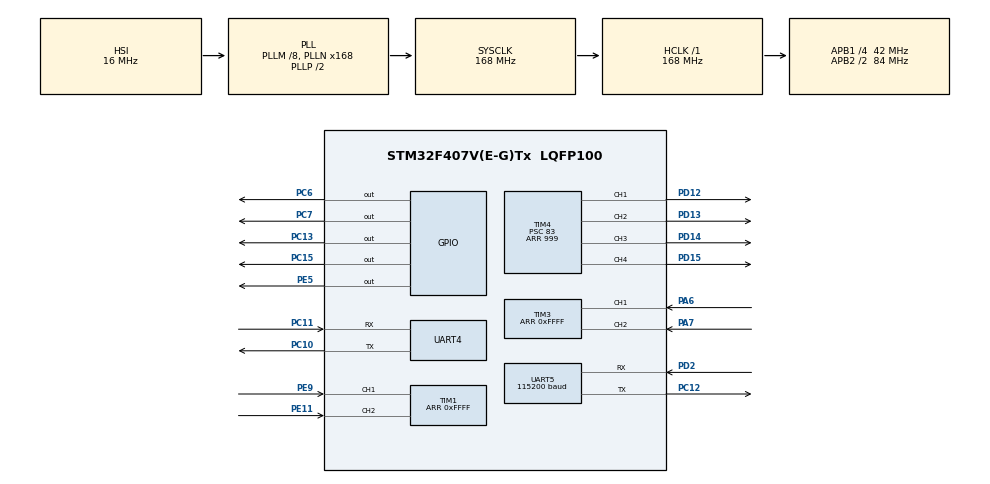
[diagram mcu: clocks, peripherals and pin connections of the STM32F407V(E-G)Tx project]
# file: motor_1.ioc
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Mcu.Family=STM32F4
Mcu.Name=STM32F407V(E-G)Tx
Mcu.Package=LQFP100
NVIC.PriorityGroup=NVIC_PRIORITYGROUP_4
NVIC.TIM2_IRQn=true\:0\:0\:false\:false\:true\:true\:true
NVIC.TIM4_IRQn=true\:0\:0\:false\:false\:true\:true\:true
NVIC.UART4_IRQn=true\:0\:0\:false\:false\:true\:true\:true
NVIC.UART5_IRQn=true\:0\:0\:false\:false\:true\:true\:true
PA6.GPIO_PuPd=GPIO_PULLUP
PA6.Signal=S_TIM3_CH1
PA7.GPIO_PuPd=GPIO_PULLUP
PA7.Signal=S_TIM3_CH2
PC10.Mode=Asynchronous
PC10.Signal=UART4_TX
PC11.Mode=Asynchronous
PC11.Signal=UART4_RX
PC12.Mode=Asynchronous
PC12.Signal=UART5_TX
PC13-ANTI_TAMP.Signal=GPIO_Output
PC15-OSC32_OUT.Signal=GPIO_Output
PC6.Signal=GPIO_Output
PC7.Signal=GPIO_Output
PD12.GPIO_ModeDefaultPP=GPIO_MODE_AF_PP
PD12.GPIO_PuPd=GPIO_NOPULL
PD12.GPIO_Speed=GPIO_SPEED_FREQ_LOW
PD12.Signal=S_TIM4_CH1
PD13.GPIO_ModeDefaultPP=GPIO_MODE_AF_PP
PD13.GPIO_PuPd=GPIO_NOPULL
PD13.GPIO_Speed=GPIO_SPEED_FREQ_LOW
PD13.Signal=S_TIM4_CH2
PD14.GPIO_ModeDefaultPP=GPIO_MODE_AF_PP
PD14.GPIO_PuPd=GPIO_NOPULL
PD14.GPIO_Speed=GPIO_SPEED_FREQ_LOW
PD14.Signal=S_TIM4_CH3
PD15.GPIO_ModeDefaultPP=GPIO_MODE_AF_PP
PD15.GPIO_PuPd=GPIO_NOPULL
PD15.GPIO_Speed=GPIO_SPEED_FREQ_LOW
PD15.Signal=S_TIM4_CH4
PD2.Mode=Asynchronous
PD2.Signal=UART5_RX
PE11.GPIO_PuPd=GPIO_NOPULL
PE11.GPIO_Speed=GPIO_SPEED_FREQ_VERY_HIGH
PE11.Signal=S_TIM1_CH2
PE5.Signal=GPIO_Output
PE9.GPIO_PuPd=GPIO_NOPULL
PE9.GPIO_Speed=GPIO_SPEED_FREQ_VERY_HIGH
PE9.Signal=S_TIM1_CH1
PH0-OSC_IN.Mode=HSE-External-Oscillator
PH0-OSC_IN.Signal=RCC_OSC_IN
PH1-OSC_OUT.Mode=HSE-External-Oscillator
PH1-OSC_OUT.Signal=RCC_OSC_OUT
ProjectManager.HeapSize=0x200
ProjectManager.StackSize=0x400
ProjectManager.TargetToolchain=MDK-ARM V5
RCC.48MHZClocksFreq_Value=84000000
RCC.AHBFreq_Value=168000000
RCC.APB1CLKDivider=RCC_HCLK_DIV4
RCC.APB1Freq_Value=42000000
RCC.APB1TimFreq_Value=84000000
RCC.APB2CLKDivider=RCC_HCLK_DIV2
RCC.APB2Freq_Value=84000000
RCC.APB2TimFreq_Value=168000000
RCC.CortexFreq_Value=168000000
RCC.HCLKFreq_Value=168000000
RCC.HSE_VALUE=8000000
RCC.HSI_VALUE=16000000
RCC.LSE_VALUE=32768
RCC.PLLM=8
RCC.PLLN=168
RCC.SYSCLKFreq_VALUE=168000000
RCC.SYSCLKSource=RCC_SYSCLKSOURCE_PLLCLK
RCC.VCOOutputFreq_Value=336000000
SH.S_TIM1_CH1.0=TIM1_CH1,Encoder_Interface
SH.S_TIM1_CH2.0=TIM1_CH2,Encoder_Interface
SH.S_TIM3_CH1.0=TIM3_CH1,Encoder_Interface
SH.S_TIM3_CH2.0=TIM3_CH2,Encoder_Interface
SH.S_TIM4_CH1.0=TIM4_CH1,PWM Generation1 CH1
SH.S_TIM4_CH2.0=TIM4_CH2,PWM Generation2 CH2
SH.S_TIM4_CH3.0=TIM4_CH3,PWM Generation3 CH3
SH.S_TIM4_CH4.0=TIM4_CH4,PWM Generation4 CH4
TIM1.EncoderMode=TIM_ENCODERMODE_TI12
TIM1.Period=0xFFFF
TIM2.Period=99
TIM2.Prescaler=8399
TIM3.EncoderMode=TIM_ENCODERMODE_TI12
TIM3.Period=0xFFFF
TIM4.Channel-PWM\ Generation1\ CH1=TIM_CHANNEL_1
TIM4.Channel-PWM\ Generation2\ CH2=TIM_CHANNEL_2
TIM4.Channel-PWM\ Generation3\ CH3=TIM_CHANNEL_3
TIM4.Channel-PWM\ Generation4\ CH4=TIM_CHANNEL_4
TIM4.Period=999
TIM4.Prescaler=83
UART4.VirtualMode=Asynchronous
UART5.BaudRate=115200
UART5.VirtualMode=Asynchronous
VP_TIM2_VS_ClockSourceINT.Mode=Internal
VP_TIM4_VS_ClockSourceINT.Mode=Internal
board=custom

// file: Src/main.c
/* USER CODE BEGIN Header *123464/
/**
  ******************************************************************************
  * @file           : main.c
  * @brief          : Main program body
  ******************************************************************************
  * @attention
  *
  * <h2><center>&copy; Copyright (c) 2020 STMicroelectronics.
  * All rights reserved.</center></h2>
  *
  * This software component is licensed by ST under BSD 3-Clause license,
  * the "License"; You may not use this file except in compliance with the
  * License. You may obtain a copy of the License at:
  *                        opensource.org/licenses/BSD-3-Clause
  *
  ******************************************************************************
  */
/* USER CODE END Header */

#include "main.h"

/* USER CODE BEGIN Includes */
#include "stm32f4xx_hal.h"
#include "stm32f4xx_it.h"
/* USER CODE END Includes */

TIM_HandleTypeDef htim1;
TIM_HandleTypeDef htim2;
TIM_HandleTypeDef htim3;
TIM_HandleTypeDef htim4;

UART_HandleTypeDef huart4;
UART_HandleTypeDef huart5;

/* USER CODE BEGIN PV */
int pulse;
double rpm;
char rpm_str[15], vitri_str[15];
double T = 0.01;
double rpm_dat;
signed long Error, pre_Error = 0, pre_pre_Error = 0;
double P_part, I_part, D_part, Kp, Kd, Ki;
double Out, pre_Out = 0;
double duty;
signed long speed;
signed long position;
 float des_vitri, vitri;
unsigned int RUN = 1, rRight = 1, rLeft;

char Rx_data[10];
int dex1 = 0;
int dex2 = 0;
unsigned int c;
char d[1];
char Rx_data_1[10];
int i = 0, j = 0;
int compl = 0;
int pre_pulse = 0;
int sample_count = 0;
float vitri_deg;

/* USER CODE END PV */

void SystemClock_Config(void);
static void MX_GPIO_Init(void);
static void MX_TIM1_Init(void);
static void MX_UART5_Init(void);
static void MX_TIM2_Init(void);
static void MX_TIM4_Init(void);
static void MX_UART4_Init(void);
static void MX_TIM3_Init(void);
/* USER CODE BEGIN PFP */
void chieuquay(int rRight)
{
    if (rRight == 1)
    {
        HAL_GPIO_WritePin(GPIOC, GPIO_PIN_15, GPIO_PIN_SET);
        HAL_GPIO_WritePin(GPIOC, GPIO_PIN_13, GPIO_PIN_RESET);
    }
    else if (rRight == 0)
    {
        HAL_GPIO_WritePin(GPIOC, GPIO_PIN_13, GPIO_PIN_SET);
        HAL_GPIO_WritePin(GPIOC, GPIO_PIN_15, GPIO_PIN_RESET);
    }
}

void HAL_UART_RxCpltCallback(UART_HandleTypeDef *huart)
{
    /* Prevent unused argument(s) compilation warning */

    //    if (huart->Instance == UART5)
    //{
    c = Rx_data[0];
    Rx_data_1[i++] = c;

    if (c == 33)
    {
        i = 0;
        compl = 1;
    }

    HAL_UART_Receive_IT(&huart5, (uint8_t *)Rx_data, 1);
}
//}

void send_data(void)
{
    if (speed == 1)
    {
        sprintf(rpm_str, "%0.0f\r\n", rpm);

			  while (d[0] != 10)

    {
        d[0] = (int)rpm_str[j];
        j += 1;

        HAL_UART_Transmit(&huart5, (uint8_t *)d, 1, 100);
    }
    }
    else
    {
			vitri_deg=vitri*9/20;
        sprintf(vitri_str, "%0.0f\r\n", vitri_deg);
			  while (d[0] != 10)

    {
        d[0] = (int)vitri_str[j];
        j += 1;

        HAL_UART_Transmit(&huart5, (uint8_t *)d, 1, 100);
    }
    }

    j = 0;
    d[0] = 0;
}

void Speed_PID(int rpm_dat, TIM_HandleTypeDef *htim)
{
    if (RUN == 1)
    {
        Kp = 0.1;
        Ki = 0.02;
        Kd = 0.03;

        Error = rpm_dat - rpm;
          P_part = Kp * (Error);
    I_part = 0.5 * Ki * T * (Error + pre_Error);
    D_part = Kd / T * (Error - 2 * pre_Error + pre_pre_Error);
    Out = Out + P_part + I_part + D_part;
    pre_pre_Error = pre_Error;
    pre_Error = Error;
    }
    else if (RUN == 0)
    {
        Out = 0;
    }
    if (Out >= 999)
        Out = 999 - 1;
    if (Out <= 0)
        Out = 0;

    chieuquay(rRight);

    __HAL_TIM_SetCompare(&htim4, TIM_CHANNEL_1, Out);
}
void ham_stop()
{
    RUN = 0;
    position = 0;
    speed = 0;
    __HAL_TIM_SetCompare(&htim4, TIM_CHANNEL_1, 0);
    rpm_dat = 0;
    des_vitri = 0;
}

void calculate_speed()
{

    pulse = (__HAL_TIM_GET_COUNTER(&htim3));
    if (RUN == 0 || speed == 1)
        htim3.Instance->CNT = 0;
    if (pulse > 50000)
    {
        pulse = 65535 - pulse;
    }
    rpm = (float)pulse * 60 / 800 / 0.01;

    if (position == 1)
    {
        if (pulse > 50000)
        {
            pulse = 65535 - pulse;
        }
        rpm = (float)(pulse - pre_pulse) * 60 / 800 / 0.01;
        pre_pulse = pulse;
    }
}
void Position_PID(int des_vitri, TIM_HandleTypeDef *htim)
{
    Kp = 0.1;
    Ki = 0.4;
    Kd = 0.9;

    vitri = pulse;

    Error = des_vitri - vitri;
    if (Error < 0)
    {
        Error = -Error;
        rRight = 0;
    }
    else if (Error > 0)
    {
        rRight = 1;
    }

    P_part = Kp * (Error);
    I_part = 0.5 * Ki * T * (Error + pre_Error);
    D_part = Kd / T * (Error - 2 * pre_Error + pre_pre_Error);
    Out = Out + P_part + I_part + D_part;
    pre_pre_Error = pre_Error;
    pre_Error = Error;

		if (Error==0)
			Out=0;
    if (Out > 200)
        Out = 200;
    if (Out <= 0)
        Out = 0;

    chieuquay(rRight);

    __HAL_TIM_SetCompare(&htim4, TIM_CHANNEL_1, Out);
}
/* USER CODE END PFP */

/* USER CODE BEGIN 0 */
void HAL_TIM_PeriodElapsedCallback(TIM_HandleTypeDef *htim)
{

    if (htim->Instance == htim2.Instance)
    {
    calculate_speed();
    sample_count += 1;

    if (speed == 1 && RUN == 1)
    {
        Speed_PID(rpm_dat, &htim3);
    }
    if (position == 1 && RUN == 1)
    {
        Position_PID(des_vitri, &htim3);
    }
    else if (RUN == 0)
    {
    }
}
}

/* USER CODE END 0 */

int main(void)
{

  /* MCU Configuration--------------------------------------------------------*/

  /* Reset of all peripherals, Initializes the Flash interface and the Systick. */
  HAL_Init();

  /* Configure the system clock */
  SystemClock_Config();

  /* Initialize all configured peripherals */
  MX_GPIO_Init();
  MX_TIM1_Init();
  MX_UART5_Init();
  MX_TIM2_Init();
  MX_TIM4_Init();
  MX_UART4_Init();
  MX_TIM3_Init();
  /* USER CODE BEGIN 2 */
//    HAL_TIM_Encoder_Start(&htim1, TIM_CHANNEL_1 | TIM_CHANNEL_2);
 HAL_TIM_Encoder_Start(&htim3, TIM_CHANNEL_1 | TIM_CHANNEL_2);
    HAL_TIM_Base_Start_IT(&htim2);
    HAL_TIM_PWM_Start(&htim4, TIM_CHANNEL_1);

    speed = 0;
    position = 0;
    des_vitri = 0;
    rpm_dat = 0;
    rpm = 0;
    HAL_UART_Receive_IT(&huart5, (uint8_t *)Rx_data, 1);
    HAL_UART_Transmit_IT(&huart5, (uint8_t *)d, 1);
  /* USER CODE END 2 */

  /* Infinite loop */
  /* USER CODE BEGIN WHILE */
    while (1)
    {
        if (sample_count >= 20)
        {
            send_data();
            sample_count = 0;
        }
        if (compl == 1)
        {
            compl = 0;
            if (strncmp(&Rx_data_1[0], "I", 1) == 0)
            {
							if (speed==1)
								{
                rpm_dat += 200;
                Speed_PID(rpm_dat, &htim3);
								}
								else if (position==1)
								{ des_vitri+=30;
									Position_PID(des_vitri,&htim3);
								}
            }
            if (strncmp(&Rx_data_1[0], "D", 1) == 0)
            {
              	if (speed==1)
								{
                rpm_dat -= 200;
                Speed_PID(rpm_dat, &htim3);
								}
								else if (position==1)
								{ des_vitri-=30;
									Position_PID(des_vitri,&htim3);
								}
            }
            if (strncmp(&Rx_data_1[0], "s", 1) == 0)
            {
                ham_stop();
                RUN = 1;
                position = 0;
                speed = 1;
                rpm_dat = (Rx_data_1[1] - 48) * 1000 + (Rx_data_1[2] - 48) * 100 + (Rx_data_1[3] - 48) * 10 + (Rx_data_1[4] - 48);
                Speed_PID(rpm_dat, &htim3);
            }
            if (strncmp(&Rx_data_1[0], "p", 1) == 0)
            {
                ham_stop();
                RUN = 1;
                position = 1;
                speed = 0;
                des_vitri = (Rx_data_1[1] - 48) * 1000 + (Rx_data_1[2] - 48) * 100 + (Rx_data_1[3] - 48) * 10 + (Rx_data_1[4] - 48);
                Position_PID(des_vitri, &htim3);
            }
            if (strncmp(&Rx_data_1[0], "S", 1) == 0)
            {
                ham_stop();
            }
            if (strncmp(&Rx_data_1[0], "R", 1) == 0)
            {
                ham_stop();
                HAL_Delay(2000);
                rRight = 1;
            }
            if (strncmp(&Rx_data_1[0], "L", 1) == 0)
            {
                ham_stop();
                HAL_Delay(2000);
                rRight = 0;
            }
            if (strncmp(&Rx_data_1[0], "C", 1) == 0)
            {
                pulse = 0;
                rpm_dat = 0;
                des_vitri = 0;
						vitri=0;
							vitri_deg=0;
            }
        }
    /* USER CODE END WHILE */

    }
}

void SystemClock_Config(void)
{
  RCC_OscInitTypeDef RCC_OscInitStruct = {0};
  RCC_ClkInitTypeDef RCC_ClkInitStruct = {0};

  /** Configure the main internal regulator output voltage
  */
  __HAL_RCC_PWR_CLK_ENABLE();
  __HAL_PWR_VOLTAGESCALING_CONFIG(PWR_REGULATOR_VOLTAGE_SCALE1);
  /** Initializes the CPU, AHB and APB busses clocks
  */
  RCC_OscInitStruct.OscillatorType = RCC_OSCILLATORTYPE_HSI;
  RCC_OscInitStruct.HSIState = RCC_HSI_ON;
  RCC_OscInitStruct.HSICalibrationValue = RCC_HSICALIBRATION_DEFAULT;
  RCC_OscInitStruct.PLL.PLLState = RCC_PLL_ON;
  RCC_OscInitStruct.PLL.PLLSource = RCC_PLLSOURCE_HSI;
  RCC_OscInitStruct.PLL.PLLM = 8;
  RCC_OscInitStruct.PLL.PLLN = 168;
  RCC_OscInitStruct.PLL.PLLP = RCC_PLLP_DIV2;
  RCC_OscInitStruct.PLL.PLLQ = 4;
  if (HAL_RCC_OscConfig(&RCC_OscInitStruct) != HAL_OK)
  {
    Error_Handler();
  }
  /** Initializes the CPU, AHB and APB busses clocks
  */
  RCC_ClkInitStruct.ClockType = RCC_CLOCKTYPE_HCLK|RCC_CLOCKTYPE_SYSCLK
                              |RCC_CLOCKTYPE_PCLK1|RCC_CLOCKTYPE_PCLK2;
  RCC_ClkInitStruct.SYSCLKSource = RCC_SYSCLKSOURCE_PLLCLK;
  RCC_ClkInitStruct.AHBCLKDivider = RCC_SYSCLK_DIV1;
  RCC_ClkInitStruct.APB1CLKDivider = RCC_HCLK_DIV4;
  RCC_ClkInitStruct.APB2CLKDivider = RCC_HCLK_DIV2;

  if (HAL_RCC_ClockConfig(&RCC_ClkInitStruct, FLASH_LATENCY_5) != HAL_OK)
  {
    Error_Handler();
  }
}

static void MX_TIM1_Init(void)
{

  TIM_Encoder_InitTypeDef sConfig = {0};
  TIM_MasterConfigTypeDef sMasterConfig = {0};

  htim1.Instance = TIM1;
  htim1.Init.Prescaler = 0;
  htim1.Init.CounterMode = TIM_COUNTERMODE_UP;
  htim1.Init.Period = 0xFFFF;
  htim1.Init.ClockDivision = TIM_CLOCKDIVISION_DIV1;
  htim1.Init.RepetitionCounter = 0;
  htim1.Init.AutoReloadPreload = TIM_AUTORELOAD_PRELOAD_DISABLE;
  sConfig.EncoderMode = TIM_ENCODERMODE_TI12;
  sConfig.IC1Polarity = TIM_ICPOLARITY_RISING;
  sConfig.IC1Selection = TIM_ICSELECTION_DIRECTTI;
  sConfig.IC1Prescaler = TIM_ICPSC_DIV1;
  sConfig.IC1Filter = 0;
  sConfig.IC2Polarity = TIM_ICPOLARITY_RISING;
  sConfig.IC2Selection = TIM_ICSELECTION_DIRECTTI;
  sConfig.IC2Prescaler = TIM_ICPSC_DIV1;
  sConfig.IC2Filter = 0;
  if (HAL_TIM_Encoder_Init(&htim1, &sConfig) != HAL_OK)
  {
    Error_Handler();
  }
  sMasterConfig.MasterOutputTrigger = TIM_TRGO_RESET;
  sMasterConfig.MasterSlaveMode = TIM_MASTERSLAVEMODE_DISABLE;
  if (HAL_TIMEx_MasterConfigSynchronization(&htim1, &sMasterConfig) != HAL_OK)
  {
    Error_Handler();
  }

}

static void MX_TIM2_Init(void)
{

  TIM_ClockConfigTypeDef sClockSourceConfig = {0};
  TIM_MasterConfigTypeDef sMasterConfig = {0};

  htim2.Instance = TIM2;
  htim2.Init.Prescaler = 8399;
  htim2.Init.CounterMode = TIM_COUNTERMODE_UP;
  htim2.Init.Period = 99;
  htim2.Init.ClockDivision = TIM_CLOCKDIVISION_DIV1;
  htim2.Init.AutoReloadPreload = TIM_AUTORELOAD_PRELOAD_DISABLE;
  if (HAL_TIM_Base_Init(&htim2) != HAL_OK)
  {
    Error_Handler();
  }
  sClockSourceConfig.ClockSource = TIM_CLOCKSOURCE_INTERNAL;
  if (HAL_TIM_ConfigClockSource(&htim2, &sClockSourceConfig) != HAL_OK)
  {
    Error_Handler();
  }
  sMasterConfig.MasterOutputTrigger = TIM_TRGO_RESET;
  sMasterConfig.MasterSlaveMode = TIM_MASTERSLAVEMODE_DISABLE;
  if (HAL_TIMEx_MasterConfigSynchronization(&htim2, &sMasterConfig) != HAL_OK)
  {
    Error_Handler();
  }

}

static void MX_TIM3_Init(void)
{

  TIM_Encoder_InitTypeDef sConfig = {0};
  TIM_MasterConfigTypeDef sMasterConfig = {0};

  htim3.Instance = TIM3;
  htim3.Init.Prescaler = 0;
  htim3.Init.CounterMode = TIM_COUNTERMODE_UP;
  htim3.Init.Period = 0xFFFF;
  htim3.Init.ClockDivision = TIM_CLOCKDIVISION_DIV1;
  htim3.Init.AutoReloadPreload = TIM_AUTORELOAD_PRELOAD_DISABLE;
  sConfig.EncoderMode = TIM_ENCODERMODE_TI12;
  sConfig.IC1Polarity = TIM_ICPOLARITY_RISING;
  sConfig.IC1Selection = TIM_ICSELECTION_DIRECTTI;
  sConfig.IC1Prescaler = TIM_ICPSC_DIV1;
  sConfig.IC1Filter = 0;
  sConfig.IC2Polarity = TIM_ICPOLARITY_RISING;
  sConfig.IC2Selection = TIM_ICSELECTION_DIRECTTI;
  sConfig.IC2Prescaler = TIM_ICPSC_DIV1;
  sConfig.IC2Filter = 0;
  if (HAL_TIM_Encoder_Init(&htim3, &sConfig) != HAL_OK)
  {
    Error_Handler();
  }
  sMasterConfig.MasterOutputTrigger = TIM_TRGO_RESET;
  sMasterConfig.MasterSlaveMode = TIM_MASTERSLAVEMODE_DISABLE;
  if (HAL_TIMEx_MasterConfigSynchronization(&htim3, &sMasterConfig) != HAL_OK)
  {
    Error_Handler();
  }

}

static void MX_TIM4_Init(void)
{

  TIM_ClockConfigTypeDef sClockSourceConfig = {0};
  TIM_MasterConfigTypeDef sMasterConfig = {0};
  TIM_OC_InitTypeDef sConfigOC = {0};

  htim4.Instance = TIM4;
  htim4.Init.Prescaler = 83;
  htim4.Init.CounterMode = TIM_COUNTERMODE_UP;
  htim4.Init.Period = 999;
  htim4.Init.ClockDivision = TIM_CLOCKDIVISION_DIV1;
  htim4.Init.AutoReloadPreload = TIM_AUTORELOAD_PRELOAD_DISABLE;
  if (HAL_TIM_Base_Init(&htim4) != HAL_OK)
  {
    Error_Handler();
  }
  sClockSourceConfig.ClockSource = TIM_CLOCKSOURCE_INTERNAL;
  if (HAL_TIM_ConfigClockSource(&htim4, &sClockSourceConfig) != HAL_OK)
  {
    Error_Handler();
  }
  if (HAL_TIM_PWM_Init(&htim4) != HAL_OK)
  {
    Error_Handler();
  }
  sMasterConfig.MasterOutputTrigger = TIM_TRGO_RESET;
  sMasterConfig.MasterSlaveMode = TIM_MASTERSLAVEMODE_DISABLE;
  if (HAL_TIMEx_MasterConfigSynchronization(&htim4, &sMasterConfig) != HAL_OK)
  {
    Error_Handler();
  }
  sConfigOC.OCMode = TIM_OCMODE_PWM1;
  sConfigOC.Pulse = 0;
  sConfigOC.OCPolarity = TIM_OCPOLARITY_HIGH;
  sConfigOC.OCFastMode = TIM_OCFAST_DISABLE;
  if (HAL_TIM_PWM_ConfigChannel(&htim4, &sConfigOC, TIM_CHANNEL_1) != HAL_OK)
  {
    Error_Handler();
  }
  if (HAL_TIM_PWM_ConfigChannel(&htim4, &sConfigOC, TIM_CHANNEL_2) != HAL_OK)
  {
    Error_Handler();
  }
  if (HAL_TIM_PWM_ConfigChannel(&htim4, &sConfigOC, TIM_CHANNEL_3) != HAL_OK)
  {
    Error_Handler();
  }
  if (HAL_TIM_PWM_ConfigChannel(&htim4, &sConfigOC, TIM_CHANNEL_4) != HAL_OK)
  {
    Error_Handler();
  }
  HAL_TIM_MspPostInit(&htim4);

}

static void MX_UART4_Init(void)
{

  huart4.Instance = UART4;
  huart4.Init.BaudRate = 115200;
  huart4.Init.WordLength = UART_WORDLENGTH_8B;
  huart4.Init.StopBits = UART_STOPBITS_1;
  huart4.Init.Parity = UART_PARITY_NONE;
  huart4.Init.Mode = UART_MODE_TX_RX;
  huart4.Init.HwFlowCtl = UART_HWCONTROL_NONE;
  huart4.Init.OverSampling = UART_OVERSAMPLING_16;
  if (HAL_UART_Init(&huart4) != HAL_OK)
  {
    Error_Handler();
  }

}

static void MX_UART5_Init(void)
{

  huart5.Instance = UART5;
  huart5.Init.BaudRate = 115200;
  huart5.Init.WordLength = UART_WORDLENGTH_8B;
  huart5.Init.StopBits = UART_STOPBITS_1;
  huart5.Init.Parity = UART_PARITY_NONE;
  huart5.Init.Mode = UART_MODE_TX_RX;
  huart5.Init.HwFlowCtl = UART_HWCONTROL_NONE;
  huart5.Init.OverSampling = UART_OVERSAMPLING_16;
  if (HAL_UART_Init(&huart5) != HAL_OK)
  {
    Error_Handler();
  }

}

static void MX_GPIO_Init(void)
{
  GPIO_InitTypeDef GPIO_InitStruct = {0};

  /* GPIO Ports Clock Enable */
  __HAL_RCC_GPIOE_CLK_ENABLE();
  __HAL_RCC_GPIOC_CLK_ENABLE();
  __HAL_RCC_GPIOH_CLK_ENABLE();
  __HAL_RCC_GPIOA_CLK_ENABLE();
  __HAL_RCC_GPIOD_CLK_ENABLE();

  /*Configure GPIO pin Output Level */
  HAL_GPIO_WritePin(GPIOE, GPIO_PIN_5, GPIO_PIN_RESET);

  /*Configure GPIO pin Output Level */
  HAL_GPIO_WritePin(GPIOC, GPIO_PIN_13|GPIO_PIN_15|GPIO_PIN_6|GPIO_PIN_7, GPIO_PIN_RESET);

  /*Configure GPIO pin : PE5 */
  GPIO_InitStruct.Pin = GPIO_PIN_5;
  GPIO_InitStruct.Mode = GPIO_MODE_OUTPUT_PP;
  GPIO_InitStruct.Pull = GPIO_NOPULL;
  GPIO_InitStruct.Speed = GPIO_SPEED_FREQ_LOW;
  HAL_GPIO_Init(GPIOE, &GPIO_InitStruct);

  /*Configure GPIO pins : PC13 PC15 PC6 PC7 */
  GPIO_InitStruct.Pin = GPIO_PIN_13|GPIO_PIN_15|GPIO_PIN_6|GPIO_PIN_7;
  GPIO_InitStruct.Mode = GPIO_MODE_OUTPUT_PP;
  GPIO_InitStruct.Pull = GPIO_NOPULL;
  GPIO_InitStruct.Speed = GPIO_SPEED_FREQ_LOW;
  HAL_GPIO_Init(GPIOC, &GPIO_InitStruct);

}

void Error_Handler(void)
{
}

/************************ (C) COPYRIGHT STMicroelectronics *****END OF FILE****/
